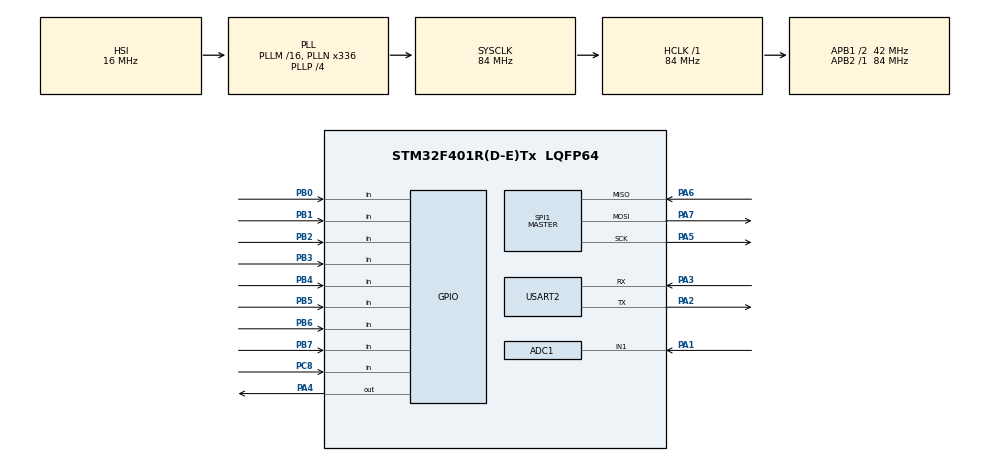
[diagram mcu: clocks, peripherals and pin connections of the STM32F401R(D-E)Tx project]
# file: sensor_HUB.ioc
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ADC1.Channel-0\#ChannelRegularConversion=ADC_CHANNEL_1
ADC1.NbrOfConversionFlag=1
ADC1.Rank-0\#ChannelRegularConversion=1
ADC1.SamplingTime-0\#ChannelRegularConversion=ADC_SAMPLETIME_3CYCLES
ADC1.master=1
Mcu.Family=STM32F4
Mcu.Name=STM32F401R(D-E)Tx
Mcu.Package=LQFP64
NVIC.PriorityGroup=NVIC_PRIORITYGROUP_4
PA1.Signal=ADCx_IN1
PA2.Mode=Asynchronous
PA2.Signal=USART2_TX
PA3.Mode=Asynchronous
PA3.Signal=USART2_RX
PA4.Signal=GPIO_Output
PA5.Mode=Full_Duplex_Master
PA5.Signal=SPI1_SCK
PA6.Mode=Full_Duplex_Master
PA6.Signal=SPI1_MISO
PA7.Mode=Full_Duplex_Master
PA7.Signal=SPI1_MOSI
PB0.GPIO_PuPd=GPIO_PULLUP
PB0.Signal=GPIO_Input
PB1.GPIO_PuPd=GPIO_PULLUP
PB1.Signal=GPIO_Input
PB2.GPIO_PuPd=GPIO_PULLUP
PB2.Signal=GPIO_Input
PB3.GPIO_PuPd=GPIO_PULLUP
PB3.Signal=GPIO_Input
PB4.GPIO_PuPd=GPIO_PULLUP
PB4.Signal=GPIO_Input
PB5.GPIO_PuPd=GPIO_PULLUP
PB5.Signal=GPIO_Input
PB6.GPIO_PuPd=GPIO_PULLUP
PB6.Signal=GPIO_Input
PB7.GPIO_PuPd=GPIO_PULLUP
PB7.Signal=GPIO_Input
PC8.Signal=GPIO_Input
ProjectManager.HeapSize=0x200
ProjectManager.StackSize=0x400
ProjectManager.TargetToolchain=STM32CubeIDE
RCC.48MHZClocksFreq_Value=48000000
RCC.AHBFreq_Value=84000000
RCC.APB1CLKDivider=RCC_HCLK_DIV2
RCC.APB1Freq_Value=42000000
RCC.APB1TimFreq_Value=84000000
RCC.APB2Freq_Value=84000000
RCC.APB2TimFreq_Value=84000000
RCC.CortexFreq_Value=84000000
RCC.HCLKFreq_Value=84000000
RCC.HSE_VALUE=8000000
RCC.HSI_VALUE=16000000
RCC.LSE_VALUE=32768
RCC.PLLN=336
RCC.PLLP=RCC_PLLP_DIV4
RCC.PLLQ=7
RCC.SYSCLKFreq_VALUE=84000000
RCC.SYSCLKSource=RCC_SYSCLKSOURCE_PLLCLK
RCC.VCOOutputFreq_Value=336000000
SH.ADCx_IN1.0=ADC1_IN1,IN1
SPI1.Direction=SPI_DIRECTION_2LINES
SPI1.Mode=SPI_MODE_MASTER
SPI1.VirtualType=VM_MASTER
USART2.VirtualMode=VM_ASYNC
board=NUCLEO-F401RE

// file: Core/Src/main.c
/* USER CODE BEGIN Header */
/**
  ******************************************************************************
  * @file           : main.c
  * @brief          : Main program body
  ******************************************************************************
  * @attention
  *
  * Copyright (c) 2025 STMicroelectronics.
  * All rights reserved.
  *
  * This software is licensed under terms that can be found in the LICENSE file
  * in the root directory of this software component.
  * If no LICENSE file comes with this software, it is provided AS-IS.
  *
  ******************************************************************************
  */
/* USER CODE END Header */
#include "main.h"

/* USER CODE BEGIN Includes */
// --- ADDED: Includes for string functions and sprintf ---
#include <stdio.h>
#include <string.h>
/* USER CODE END Includes */

ADC_HandleTypeDef hadc1;

SPI_HandleTypeDef hspi1;

/* --- This line will be added by CubeMX --- */
UART_HandleTypeDef huart2;

void SystemClock_Config(void);
static void MX_GPIO_Init(void);
static void MX_ADC1_Init(void);
static void MX_SPI1_Init(void);
/* --- This line will be added by CubeMX --- */
static void MX_USART2_UART_Init(void);

int main(void)
{

  /* MCU Configuration--------------------------------------------------------*/

  /* Reset of all peripherals, Initializes the Flash interface and the Systick. */
  HAL_Init();

  /* Configure the system clock */
  SystemClock_Config();

  /* Initialize all configured peripherals */
  MX_GPIO_Init();
  MX_ADC1_Init();
  MX_SPI1_Init();
  /* --- This line will be added by CubeMX --- */
  MX_USART2_UART_Init();

  /* Infinite loop */
  /* USER CODE BEGIN WHILE */
  while (1)
  {
	  // 1. Read all sensors
	  HAL_ADC_Start(&hadc1);  // ✅ CORRECT (one underscore)
	    HAL_ADC_PollForConversion(&hadc1, HAL_MAX_DELAY);
	    uint16_t soil_value = HAL_ADC_GetValue(&hadc1);
	    HAL_ADC_Stop(&hadc1);
	    uint8_t ir_value = HAL_GPIO_ReadPin(GPIOC, GPIO_PIN_8);
	    uint8_t switch_states = 0;
	    for (int i = 0; i < 8; i++) {
	      if (HAL_GPIO_ReadPin(GPIOB, (1 << i)) == GPIO_PIN_RESET) {
	        switch_states |= (1 << i);
	      }
	    }

	    // 2. Format the data into a JSON string
	    char tx_buffer[100];
	    sprintf(tx_buffer, "{\"soil\":%d, \"ir_detected\":%d, \"switches\":%d}\r\n",
	            soil_value,
	            ir_value,
	            switch_states);

      // --- 3. (NEW) Transmit over UART for Serial Monitor testing ---
      HAL_UART_Transmit(&huart2, (uint8_t*)tx_buffer, strlen(tx_buffer), HAL_MAX_DELAY);

	    // --- 4. Transmit the data over SPI to the ESP32 ---
	    HAL_GPIO_WritePin(GPIOA, GPIO_PIN_4, GPIO_PIN_RESET);
	    HAL_SPI_Transmit(&hspi1, (uint8_t*)tx_buffer, strlen(tx_buffer), HAL_MAX_DELAY);
	    HAL_GPIO_WritePin(GPIOA, GPIO_PIN_4, GPIO_PIN_SET);

	    // 5. Wait for 2 seconds
	    HAL_Delay(2000);
	  }

    /* USER CODE END WHILE */

  }

void SystemClock_Config(void)
{
  // ... (Your clock config code is all correct, no changes needed) ...
  RCC_OscInitTypeDef RCC_OscInitStruct = {0};
  RCC_ClkInitTypeDef RCC_ClkInitStruct = {0};

  /** Configure the main internal regulator output voltage
  */
  __HAL_RCC_PWR_CLK_ENABLE();
  __HAL_PWR_VOLTAGESCALING_CONFIG(PWR_REGULATOR_VOLTAGE_SCALE2);

  /** Initializes the RCC Oscillators according to the specified parameters
  * in the RCC_OscInitTypeDef structure.
  */
  RCC_OscInitStruct.OscillatorType = RCC_OSCILLATORTYPE_HSI;
  RCC_OscInitStruct.HSIState = RCC_HSI_ON;
  RCC_OscInitStruct.HSICalibrationValue = RCC_HSICALIBRATION_DEFAULT;
  RCC_OscInitStruct.PLL.PLLState = RCC_PLL_ON;
  RCC_OscInitStruct.PLL.PLLSource = RCC_PLLSOURCE_HSI;
  RCC_OscInitStruct.PLL.PLLM = 16;
  RCC_OscInitStruct.PLL.PLLN = 336;
  RCC_OscInitStruct.PLL.PLLP = RCC_PLLP_DIV4;
  RCC_OscInitStruct.PLL.PLLQ = 7;
  if (HAL_RCC_OscConfig(&RCC_OscInitStruct) != HAL_OK)
  {
    Error_Handler();
  }

  /** Initializes the CPU, AHB and APB buses clocks
  */
  RCC_ClkInitStruct.ClockType = RCC_CLOCKTYPE_HCLK|RCC_CLOCKTYPE_SYSCLK
                              |RCC_CLOCKTYPE_PCLK1|RCC_CLOCKTYPE_PCLK2;
  RCC_ClkInitStruct.SYSCLKSource = RCC_SYSCLKSOURCE_PLLCLK;
  RCC_ClkInitStruct.AHBCLKDivider = RCC_SYSCLK_DIV1;
  RCC_ClkInitStruct.APB1CLKDivider = RCC_HCLK_DIV2;
  RCC_ClkInitStruct.APB2CLKDivider = RCC_HCLK_DIV1;

  if (HAL_RCC_ClockConfig(&RCC_ClkInitStruct, FLASH_LATENCY_2) != HAL_OK)
  {
    Error_Handler();
  }
}

static void MX_ADC1_Init(void)
{
  // ... (Your ADC code is correct, no changes needed) ...

  ADC_ChannelConfTypeDef sConfig = {0};

  /** Configure the global features of the ADC (Clock, Resolution, Data Alignment and number of conversion)
  */
  hadc1.Instance = ADC1;
  hadc1.Init.ClockPrescaler = ADC_CLOCK_SYNC_PCLK_DIV4;
  hadc1.Init.Resolution = ADC_RESOLUTION_12B;
  hadc1.Init.ScanConvMode = DISABLE;
  hadc1.Init.ContinuousConvMode = DISABLE;
  hadc1.Init.DiscontinuousConvMode = DISABLE;
  hadc1.Init.ExternalTrigConvEdge = ADC_EXTERNALTRIGCONVEDGE_NONE;
  hadc1.Init.ExternalTrigConv = ADC_SOFTWARE_START;
  hadc1.Init.DataAlign = ADC_DATAALIGN_RIGHT;
  hadc1.Init.NbrOfConversion = 1;
  hadc1.Init.DMAContinuousRequests = DISABLE;
  hadc1.Init.EOCSelection = ADC_EOC_SINGLE_CONV;
  if (HAL_ADC_Init(&hadc1) != HAL_OK)
  {
    Error_Handler();
  }

  /** Configure for the selected ADC regular channel its corresponding rank in the sequencer and its sample time.
  */
  sConfig.Channel = ADC_CHANNEL_1;
  sConfig.Rank = 1;
  sConfig.SamplingTime = ADC_SAMPLETIME_3CYCLES;
  if (HAL_ADC_ConfigChannel(&hadc1, &sConfig) != HAL_OK)
  {
    Error_Handler();
  }

}

static void MX_SPI1_Init(void)
{
  // ... (Your SPI code is correct, but remember my advice about slowing down the clock) ...

  /* SPI1 parameter configuration*/
  hspi1.Instance = SPI1;
  hspi1.Init.Mode = SPI_MODE_MASTER;
  hspi1.Init.Direction = SPI_DIRECTION_2LINES;
  hspi1.Init.DataSize = SPI_DATASIZE_8BIT;
  hspi1.Init.CLKPolarity = SPI_POLARITY_LOW;
  hspi1.Init.CLKPhase = SPI_PHASE_1EDGE;
  hspi1.Init.NSS = SPI_NSS_SOFT;

  // --- RECOMMENDATION: Change this line to slow down the clock for reliability ---
  // hspi1.Init.BaudRatePrescaler = SPI_BAUDRATEPRESCALER_2; // This is very fast
  hspi1.Init.BaudRatePrescaler = SPI_BAUDRATEPRESCALER_128; // This is safer

  hspi1.Init.FirstBit = SPI_FIRSTBIT_MSB;
  hspi1.Init.TIMode = SPI_TIMODE_DISABLE;
  hspi1.Init.CRCCalculation = SPI_CRCCALCULATION_DISABLE;
  hspi1.Init.CRCPolynomial = 10;
  if (HAL_SPI_Init(&hspi1) != HAL_OK)
  {
    Error_Handler();
  }

}

/* --- This function will be added by CubeMX --- */
static void MX_USART2_UART_Init(void)
{

  huart2.Instance = USART2;
  huart2.Init.BaudRate = 115200;
  huart2.Init.WordLength = UART_WORDLENGTH_8B;
  huart2.Init.StopBits = UART_STOPBITS_1;
  huart2.Init.Parity = UART_PARITY_NONE;
  huart2.Init.Mode = UART_MODE_TX_RX;
  huart2.Init.HwFlowCtl = UART_HWCONTROL_NONE;
  huart2.Init.OverSampling = UART_OVERSAMPLING_16;
  if (HAL_UART_Init(&huart2) != HAL_OK)
  {
    Error_Handler();
  }

}

static void MX_GPIO_Init(void)
{
  // ... (Your GPIO code is correct, no changes needed) ...
  GPIO_InitTypeDef GPIO_InitStruct = {0};

  /* GPIO Ports Clock Enable */
  __HAL_RCC_GPIOA_CLK_ENABLE();
  __HAL_RCC_GPIOB_CLK_ENABLE();
  __HAL_RCC_GPIOC_CLK_ENABLE();

  /*Configure GPIO pin Output Level */
  HAL_GPIO_WritePin(GPIOA, GPIO_PIN_4, GPIO_PIN_RESET);

  /*Configure GPIO pin : PA4 */
  GPIO_InitStruct.Pin = GPIO_PIN_4;
  GPIO_InitStruct.Mode = GPIO_MODE_OUTPUT_PP;
  GPIO_InitStruct.Pull = GPIO_NOPULL;
  GPIO_InitStruct.Speed = GPIO_SPEED_FREQ_LOW;
  HAL_GPIO_Init(GPIOA, &GPIO_InitStruct);

  /*Configure GPIO pins : PB0 PB1 PB2 PB3
                           PB4 PB5 PB6 PB7 */
  GPIO_InitStruct.Pin = GPIO_PIN_0|GPIO_PIN_1|GPIO_PIN_2|GPIO_PIN_3
                          |GPIO_PIN_4|GPIO_PIN_5|GPIO_PIN_6|GPIO_PIN_7;
  GPIO_InitStruct.Mode = GPIO_MODE_INPUT;
  GPIO_InitStruct.Pull = GPIO_PULLUP;
  HAL_GPIO_Init(GPIOB, &GPIO_InitStruct);

  /*Configure GPIO pin : PC8 */
  GPIO_InitStruct.Pin = GPIO_PIN_8;
  GPIO_InitStruct.Mode = GPIO_MODE_INPUT;
  GPIO_InitStruct.Pull = GPIO_NOPULL;
  HAL_GPIO_Init(GPIOC, &GPIO_InitStruct);

}

void Error_Handler(void)
{
  __disable_irq();
  while (1)
  {
  }
}
